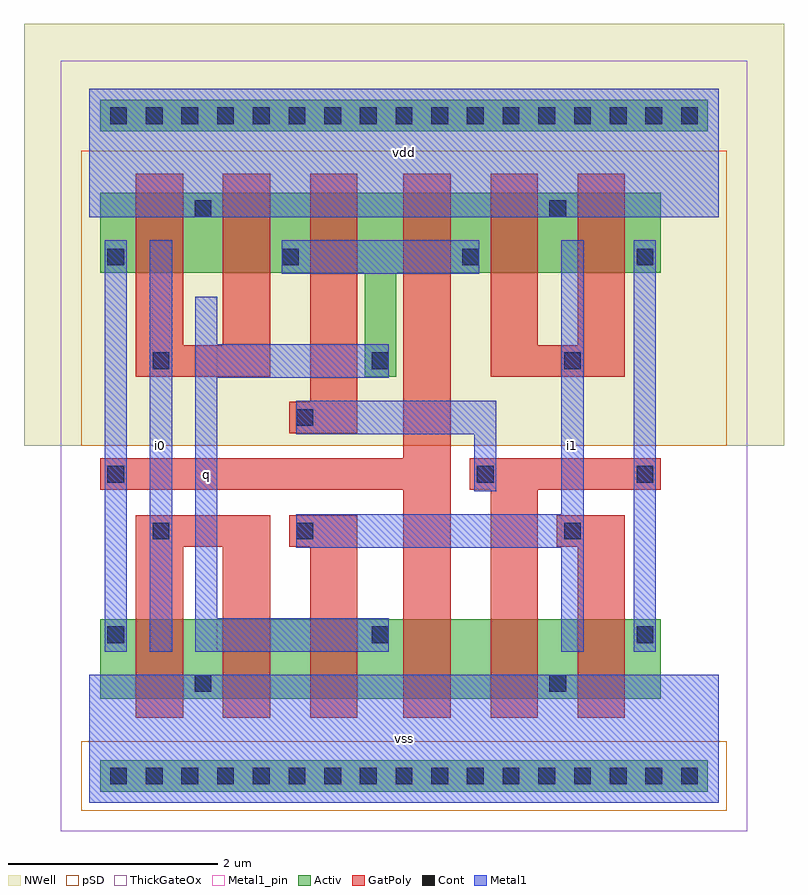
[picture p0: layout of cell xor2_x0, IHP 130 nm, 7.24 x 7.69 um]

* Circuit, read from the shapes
.subckt xor2_x0 i0 i1 q vdd vss
XM1 vss i0 n1 vss sg13_hv_nmos w=0.76u l=0.45u
XM2 n2 i0 vss vss sg13_hv_nmos w=0.76u l=0.45u
XM3 q i1 n2 vss sg13_hv_nmos w=0.76u l=0.45u
XM4 n3 n1 q vss sg13_hv_nmos w=0.76u l=0.45u
XM5 vss n4 n3 vss sg13_hv_nmos w=0.76u l=0.45u
XM6 n4 i1 vss vss sg13_hv_nmos w=0.76u l=0.45u
XM7 vdd i0 n1 vdd sg13_hv_pmos w=0.76u l=0.45u
XM8 n5 i0 vdd vdd sg13_hv_pmos w=0.76u l=0.45u
XM9 q n4 n5 vdd sg13_hv_pmos w=0.76u l=0.45u
XM10 n5 n1 q vdd sg13_hv_pmos w=0.76u l=0.45u
XM11 vdd i1 n5 vdd sg13_hv_pmos w=0.76u l=0.45u
XM12 n4 i1 vdd vdd sg13_hv_pmos w=0.76u l=0.45u
.ends

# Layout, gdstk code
import gdstk
lib = gdstk.Library(unit=1e-6, precision=1e-09)
def R(c, l, rs):  # rectangles x0, y0, x1, y1
    for r in rs: c.add(gdstk.rectangle(r[:2], r[2:], *l))
def A(c, l, x, y, w, h, nx, ny, dx, dy):  # array of equal rectangles
    R(c, l, [(x+i*dx, y+j*dy, x+i*dx+w, y+j*dy+h) for i in range(nx) for j in range(ny)])
def P(c, l, *ps):  # polygons
    for p in ps: c.add(gdstk.Polygon(p, *l))
Activ = (1, 0)
GatPoly = (5, 0)
Cont = (6, 0)
Metal1 = (8, 0)
Metal1_pin = (8, 2)
pSD = (14, 0)
NWell = (31, 0)
ThickGateOx = (44, 0)

xor2_x0 = lib.new_cell('xor2_x0')
R(xor2_x0, Activ, [(0.105,0.105,5.895,0.405), (0.105,0.99,5.445,1.75), (0.105,6.395,5.895,6.695)])
P(xor2_x0, Activ, [(2.625,4.06),(2.625,5.05),(0.105,5.05),(0.105,5.81),(5.445,5.81),(5.445,5.05),(2.925,5.05),(2.925,4.06)])
P(xor2_x0, GatPoly, [(2.995,0.81),(2.995,2.98),(0.105,2.98),(0.105,3.28),(2.995,3.28),(2.995,5.99),(3.445,5.99),(3.445,0.81)],
  [(0.445,4.06),(0.445,5.99),(0.895,5.99),(0.895,4.36),(1.275,4.36),(1.275,5.99),(1.725,5.99),(1.725,4.06)],
  [(0.445,0.81),(0.445,2.74),(1.725,2.74),(1.725,0.81),(1.275,0.81),(1.275,2.44),(0.895,2.44),(0.895,0.81)],
  [(4.655,0.81),(4.655,2.44),(4.455,2.44),(4.455,2.74),(5.105,2.74),(5.105,0.81)],
  [(3.825,4.06),(3.825,5.99),(4.275,5.99),(4.275,4.36),(4.655,4.36),(4.655,5.99),(5.105,5.99),(5.105,4.06)],
  [(2.105,0.81),(2.105,2.44),(1.905,2.44),(1.905,2.74),(2.555,2.74),(2.555,0.81)],
  [(1.905,3.52),(1.905,3.82),(2.105,3.82),(2.105,5.99),(2.555,5.99),(2.555,3.52)],
  [(3.825,0.81),(3.825,2.98),(3.625,2.98),(3.625,3.28),(5.445,3.28),(5.445,2.98),(4.275,2.98),(4.275,0.81)])
A(xor2_x0, Cont, 0.2, 0.175, 0.16, 0.16, 17, 2, 0.34, 6.29)
A(xor2_x0, Cont, 0.175, 1.52, 0.16, 0.16, 3, 1, 2.52, 0)
R(xor2_x0, Cont, [(1.005,1.06,1.165,1.22), (4.385,1.06,4.545,1.22), (0.605,2.51,0.765,2.67), (1.975,2.51,2.135,2.67), (4.525,2.51,4.685,2.67), (0.175,3.05,0.335,3.21), (3.695,3.05,3.855,3.21), (5.215,3.05,5.375,3.21), (1.975,3.59,2.135,3.75), (0.605,4.13,0.765,4.29), (2.695,4.13,2.855,4.29), (4.525,4.13,4.685,4.29), (0.175,5.12,0.335,5.28), (1.835,5.12,1.995,5.28), (3.555,5.12,3.715,5.28), (5.215,5.12,5.375,5.28), (1.005,5.58,1.165,5.74), (4.385,5.58,4.545,5.74)])
R(xor2_x0, Metal1, [(0,0,6,1.22), (0.15,1.44,0.36,5.36), (0.58,1.44,0.79,5.36), (5.19,1.44,5.4,5.36), (1.835,5.04,3.715,5.36), (0,5.58,6,6.8)])
P(xor2_x0, Metal1, [(1.01,1.44),(1.01,4.82),(1.22,4.82),(1.22,4.37),(2.855,4.37),(2.855,4.05),(1.22,4.05),(1.22,1.76),(2.855,1.76),(2.855,1.44)],
  [(4.5,1.44),(4.5,2.43),(1.975,2.43),(1.975,2.75),(4.5,2.75),(4.5,5.36),(4.71,5.36),(4.71,1.44)],
  [(3.67,2.97),(3.67,3.51),(1.975,3.51),(1.975,3.83),(3.88,3.83),(3.88,2.97)])
R(xor2_x0, Metal1_pin, [(0,0,6,1.22), (0.58,1.44,0.79,5.36), (1.01,1.44,1.22,4.82), (4.5,1.44,4.71,5.36), (0,5.58,6,6.8)])
R(xor2_x0, pSD, [(-0.075,-0.075,6.075,0.585), (-0.075,3.4,6.075,6.21)])
R(xor2_x0, NWell, [(-0.62,3.4,6.62,7.42)])
R(xor2_x0, ThickGateOx, [(-0.27,-0.27,6.27,7.07)])
xor2_x0.add(gdstk.Label('vdd', (3,6.19), layer=8, texttype=2))
xor2_x0.add(gdstk.Label('vss', (3,0.61), layer=8, texttype=2))
xor2_x0.add(gdstk.Label('i0', (0.685,3.4), layer=8, texttype=2))
xor2_x0.add(gdstk.Label('q', (1.115,3.13), layer=8, texttype=2))
xor2_x0.add(gdstk.Label('i1', (4.605,3.4), layer=8, texttype=2))

lib.write_gds('xor2_x0.gds')
